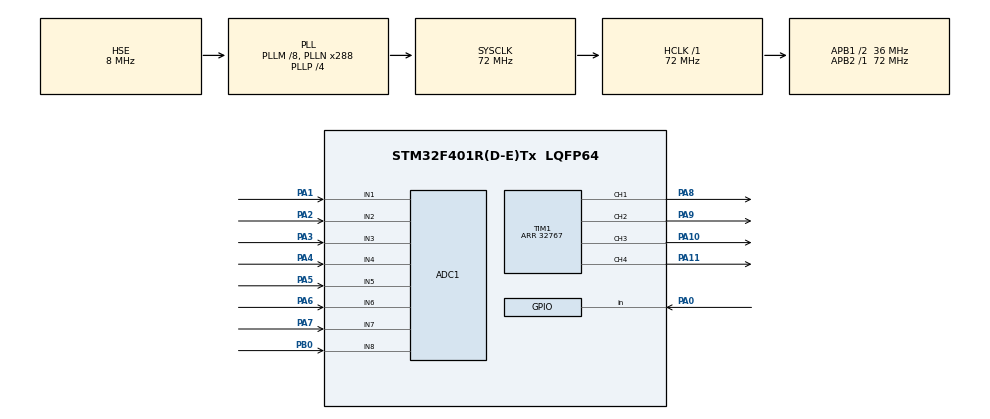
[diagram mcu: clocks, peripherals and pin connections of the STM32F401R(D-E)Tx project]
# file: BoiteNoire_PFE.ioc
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ADC1.Channel-10\#ChannelRegularConversion=ADC_CHANNEL_7
ADC1.Channel-11\#ChannelRegularConversion=ADC_CHANNEL_8
ADC1.Channel-4\#ChannelRegularConversion=ADC_CHANNEL_1
ADC1.Channel-5\#ChannelRegularConversion=ADC_CHANNEL_2
ADC1.Channel-6\#ChannelRegularConversion=ADC_CHANNEL_3
ADC1.Channel-7\#ChannelRegularConversion=ADC_CHANNEL_4
ADC1.Channel-8\#ChannelRegularConversion=ADC_CHANNEL_5
ADC1.Channel-9\#ChannelRegularConversion=ADC_CHANNEL_6
ADC1.ContinuousConvMode=ENABLE
ADC1.DMAContinuousRequests=ENABLE
ADC1.NbrOfConversion=8
ADC1.NbrOfConversionFlag=1
ADC1.Rank-10\#ChannelRegularConversion=7
ADC1.Rank-11\#ChannelRegularConversion=8
ADC1.Rank-4\#ChannelRegularConversion=1
ADC1.Rank-5\#ChannelRegularConversion=2
ADC1.Rank-6\#ChannelRegularConversion=3
ADC1.Rank-7\#ChannelRegularConversion=4
ADC1.Rank-8\#ChannelRegularConversion=5
ADC1.Rank-9\#ChannelRegularConversion=6
ADC1.SamplingTime-10\#ChannelRegularConversion=ADC_SAMPLETIME_3CYCLES
ADC1.SamplingTime-11\#ChannelRegularConversion=ADC_SAMPLETIME_480CYCLES
ADC1.SamplingTime-4\#ChannelRegularConversion=ADC_SAMPLETIME_480CYCLES
ADC1.SamplingTime-5\#ChannelRegularConversion=ADC_SAMPLETIME_480CYCLES
ADC1.SamplingTime-6\#ChannelRegularConversion=ADC_SAMPLETIME_480CYCLES
ADC1.SamplingTime-7\#ChannelRegularConversion=ADC_SAMPLETIME_480CYCLES
ADC1.SamplingTime-8\#ChannelRegularConversion=ADC_SAMPLETIME_480CYCLES
ADC1.SamplingTime-9\#ChannelRegularConversion=ADC_SAMPLETIME_480CYCLES
ADC1.ScanConvMode=ENABLE
ADC1.master=1
Dma.ADC1.0.Direction=DMA_PERIPH_TO_MEMORY
Dma.ADC1.0.FIFOMode=DMA_FIFOMODE_DISABLE
Dma.ADC1.0.Instance=DMA2_Stream0
Dma.ADC1.0.MemDataAlignment=DMA_MDATAALIGN_WORD
Dma.ADC1.0.MemInc=DMA_MINC_ENABLE
Dma.ADC1.0.Mode=DMA_CIRCULAR
Dma.ADC1.0.PeriphDataAlignment=DMA_PDATAALIGN_WORD
Dma.ADC1.0.PeriphInc=DMA_PINC_DISABLE
Dma.ADC1.0.Priority=DMA_PRIORITY_LOW
Dma.Request0=ADC1
Mcu.Family=STM32F4
Mcu.Name=STM32F401R(D-E)Tx
Mcu.Package=LQFP64
NVIC.DMA2_Stream0_IRQn=true\:0\:0\:false\:false\:true\:false\:true\:true
NVIC.PriorityGroup=NVIC_PRIORITYGROUP_4
PA0-WKUP.GPIO_PuPd=GPIO_PULLUP
PA0-WKUP.Signal=GPIO_Input
PA1.Signal=ADCx_IN1
PA10.Signal=S_TIM1_CH3
PA11.Signal=S_TIM1_CH4
PA2.Signal=ADCx_IN2
PA3.Signal=ADCx_IN3
PA4.Signal=ADCx_IN4
PA5.Signal=ADCx_IN5
PA6.Signal=ADCx_IN6
PA7.Signal=ADCx_IN7
PA8.Signal=S_TIM1_CH1
PA9.Signal=S_TIM1_CH2
PB0.Signal=ADCx_IN8
PC14-OSC32_IN.Mode=LSE-External-Oscillator
PC14-OSC32_IN.Signal=RCC_OSC32_IN
PC15-OSC32_OUT.Mode=LSE-External-Oscillator
PC15-OSC32_OUT.Signal=RCC_OSC32_OUT
PH0\ -\ OSC_IN.Mode=HSE-External-Oscillator
PH0\ -\ OSC_IN.Signal=RCC_OSC_IN
PH1\ -\ OSC_OUT.Mode=HSE-External-Oscillator
PH1\ -\ OSC_OUT.Signal=RCC_OSC_OUT
ProjectManager.HeapSize=0x200
ProjectManager.StackSize=0x400
ProjectManager.TargetToolchain=STM32CubeIDE
RCC.48MHZClocksFreq_Value=41142857.14285714
RCC.AHBFreq_Value=72000000
RCC.APB1CLKDivider=RCC_HCLK_DIV2
RCC.APB1Freq_Value=36000000
RCC.APB1TimFreq_Value=72000000
RCC.APB2Freq_Value=72000000
RCC.APB2TimFreq_Value=72000000
RCC.CortexFreq_Value=72000000
RCC.HCLKFreq_Value=72000000
RCC.HSE_VALUE=8000000
RCC.HSI_VALUE=16000000
RCC.PLLM=8
RCC.PLLN=288
RCC.PLLP=RCC_PLLP_DIV4
RCC.PLLQ=7
RCC.PLLSourceVirtual=RCC_PLLSOURCE_HSE
RCC.SYSCLKFreq_VALUE=72000000
RCC.SYSCLKSource=RCC_SYSCLKSOURCE_PLLCLK
RCC.VCOOutputFreq_Value=288000000
SH.ADCx_IN1.0=ADC1_IN1,IN1
SH.ADCx_IN2.0=ADC1_IN2,IN2
SH.ADCx_IN3.0=ADC1_IN3,IN3
SH.ADCx_IN4.0=ADC1_IN4,IN4
SH.ADCx_IN5.0=ADC1_IN5,IN5
SH.ADCx_IN6.0=ADC1_IN6,IN6
SH.ADCx_IN7.0=ADC1_IN7,IN7
SH.ADCx_IN8.0=ADC1_IN8,IN8
SH.S_TIM1_CH1.0=TIM1_CH1,PWM Generation1 CH1
SH.S_TIM1_CH2.0=TIM1_CH2,PWM Generation2 CH2
SH.S_TIM1_CH3.0=TIM1_CH3,PWM Generation3 CH3
SH.S_TIM1_CH4.0=TIM1_CH4,PWM Generation4 CH4
TIM1.AutoReloadPreload=TIM_AUTORELOAD_PRELOAD_ENABLE
TIM1.Channel-PWM\ Generation1\ CH1=TIM_CHANNEL_1
TIM1.Channel-PWM\ Generation2\ CH2=TIM_CHANNEL_2
TIM1.Channel-PWM\ Generation3\ CH3=TIM_CHANNEL_3
TIM1.Channel-PWM\ Generation4\ CH4=TIM_CHANNEL_4
TIM1.Period=32767
board=NUCLEO-F401RE

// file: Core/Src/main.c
/* USER CODE BEGIN Header */
/**
  ******************************************************************************
  * @file           : main.c
  * @brief          : Main program body
  ******************************************************************************
  * @attention
  *
  * Copyright (c) 2026 STMicroelectronics.
  * All rights reserved.
  *
  * This software is licensed under terms that can be found in the LICENSE file
  * in the root directory of this software component.
  * If no LICENSE file comes with this software, it is provided AS-IS.
  *
  ******************************************************************************
  */
/* USER CODE END Header */
#include "main.h"

/* USER CODE BEGIN Includes */

#include <stdbool.h>

/* USER CODE END Includes */

/* USER CODE BEGIN PD */

uint32_t AD_RES_BUFFER[8];
volatile bool switchState = false;

/* USER CODE END PD */

ADC_HandleTypeDef hadc1;
DMA_HandleTypeDef hdma_adc1;

TIM_HandleTypeDef htim1;

void SystemClock_Config(void);
static void MX_GPIO_Init(void);
static void MX_DMA_Init(void);
static void MX_ADC1_Init(void);
static void MX_TIM1_Init(void);

int main(void)
{

  /* MCU Configuration--------------------------------------------------------*/

  /* Reset of all peripherals, Initializes the Flash interface and the Systick. */
  HAL_Init();

  /* Configure the system clock */
  SystemClock_Config();

  /* Initialize all configured peripherals */
  MX_GPIO_Init();
  MX_DMA_Init();
  MX_ADC1_Init();
  MX_TIM1_Init();
  /* USER CODE BEGIN 2 */

  HAL_TIM_PWM_Start(&htim1, TIM_CHANNEL_1);
  HAL_TIM_PWM_Start(&htim1, TIM_CHANNEL_2);
  HAL_TIM_PWM_Start(&htim1, TIM_CHANNEL_3);
  HAL_TIM_PWM_Start(&htim1, TIM_CHANNEL_4);
  HAL_ADC_Start_DMA(&hadc1, AD_RES_BUFFER, 8);

  /* USER CODE END 2 */

  /* Infinite loop */
  while (1)
  {

  }
}

void SystemClock_Config(void)
{
  RCC_OscInitTypeDef RCC_OscInitStruct = {0};
  RCC_ClkInitTypeDef RCC_ClkInitStruct = {0};

  /** Configure the main internal regulator output voltage
  */
  __HAL_RCC_PWR_CLK_ENABLE();
  __HAL_PWR_VOLTAGESCALING_CONFIG(PWR_REGULATOR_VOLTAGE_SCALE2);

  /** Initializes the RCC Oscillators according to the specified parameters
  * in the RCC_OscInitTypeDef structure.
  */
  RCC_OscInitStruct.OscillatorType = RCC_OSCILLATORTYPE_HSE;
  RCC_OscInitStruct.HSEState = RCC_HSE_ON;
  RCC_OscInitStruct.PLL.PLLState = RCC_PLL_ON;
  RCC_OscInitStruct.PLL.PLLSource = RCC_PLLSOURCE_HSE;
  RCC_OscInitStruct.PLL.PLLM = 8;
  RCC_OscInitStruct.PLL.PLLN = 288;
  RCC_OscInitStruct.PLL.PLLP = RCC_PLLP_DIV4;
  RCC_OscInitStruct.PLL.PLLQ = 7;
  if (HAL_RCC_OscConfig(&RCC_OscInitStruct) != HAL_OK)
  {
    Error_Handler();
  }

  /** Initializes the CPU, AHB and APB buses clocks
  */
  RCC_ClkInitStruct.ClockType = RCC_CLOCKTYPE_HCLK|RCC_CLOCKTYPE_SYSCLK
                              |RCC_CLOCKTYPE_PCLK1|RCC_CLOCKTYPE_PCLK2;
  RCC_ClkInitStruct.SYSCLKSource = RCC_SYSCLKSOURCE_PLLCLK;
  RCC_ClkInitStruct.AHBCLKDivider = RCC_SYSCLK_DIV1;
  RCC_ClkInitStruct.APB1CLKDivider = RCC_HCLK_DIV2;
  RCC_ClkInitStruct.APB2CLKDivider = RCC_HCLK_DIV1;

  if (HAL_RCC_ClockConfig(&RCC_ClkInitStruct, FLASH_LATENCY_2) != HAL_OK)
  {
    Error_Handler();
  }
}

static void MX_ADC1_Init(void)
{

  ADC_ChannelConfTypeDef sConfig = {0};

  /** Configure the global features of the ADC (Clock, Resolution, Data Alignment and number of conversion)
  */
  hadc1.Instance = ADC1;
  hadc1.Init.ClockPrescaler = ADC_CLOCK_SYNC_PCLK_DIV2;
  hadc1.Init.Resolution = ADC_RESOLUTION_12B;
  hadc1.Init.ScanConvMode = ENABLE;
  hadc1.Init.ContinuousConvMode = ENABLE;
  hadc1.Init.DiscontinuousConvMode = DISABLE;
  hadc1.Init.ExternalTrigConvEdge = ADC_EXTERNALTRIGCONVEDGE_NONE;
  hadc1.Init.ExternalTrigConv = ADC_SOFTWARE_START;
  hadc1.Init.DataAlign = ADC_DATAALIGN_RIGHT;
  hadc1.Init.NbrOfConversion = 8;
  hadc1.Init.DMAContinuousRequests = ENABLE;
  hadc1.Init.EOCSelection = ADC_EOC_SEQ_CONV;
  if (HAL_ADC_Init(&hadc1) != HAL_OK)
  {
    Error_Handler();
  }

  /** Configure for the selected ADC regular channel its corresponding rank in the sequencer and its sample time.
  */
  sConfig.Channel = ADC_CHANNEL_1;
  sConfig.Rank = 1;
  sConfig.SamplingTime = ADC_SAMPLETIME_480CYCLES;
  if (HAL_ADC_ConfigChannel(&hadc1, &sConfig) != HAL_OK)
  {
    Error_Handler();
  }

  /** Configure for the selected ADC regular channel its corresponding rank in the sequencer and its sample time.
  */
  sConfig.Channel = ADC_CHANNEL_2;
  sConfig.Rank = 2;
  sConfig.SamplingTime = ADC_SAMPLETIME_480CYCLES;
  if (HAL_ADC_ConfigChannel(&hadc1, &sConfig) != HAL_OK)
  {
    Error_Handler();
  }

  /** Configure for the selected ADC regular channel its corresponding rank in the sequencer and its sample time.
  */
  sConfig.Channel = ADC_CHANNEL_3;
  sConfig.Rank = 3;
  sConfig.SamplingTime = ADC_SAMPLETIME_480CYCLES;
  if (HAL_ADC_ConfigChannel(&hadc1, &sConfig) != HAL_OK)
  {
    Error_Handler();
  }

  /** Configure for the selected ADC regular channel its corresponding rank in the sequencer and its sample time.
  */
  sConfig.Channel = ADC_CHANNEL_4;
  sConfig.Rank = 4;
  sConfig.SamplingTime = ADC_SAMPLETIME_480CYCLES;
  if (HAL_ADC_ConfigChannel(&hadc1, &sConfig) != HAL_OK)
  {
    Error_Handler();
  }

  /** Configure for the selected ADC regular channel its corresponding rank in the sequencer and its sample time.
  */
  sConfig.Channel = ADC_CHANNEL_5;
  sConfig.Rank = 5;
  sConfig.SamplingTime = ADC_SAMPLETIME_480CYCLES;
  if (HAL_ADC_ConfigChannel(&hadc1, &sConfig) != HAL_OK)
  {
    Error_Handler();
  }

  /** Configure for the selected ADC regular channel its corresponding rank in the sequencer and its sample time.
  */
  sConfig.Channel = ADC_CHANNEL_6;
  sConfig.Rank = 6;
  sConfig.SamplingTime = ADC_SAMPLETIME_480CYCLES;
  if (HAL_ADC_ConfigChannel(&hadc1, &sConfig) != HAL_OK)
  {
    Error_Handler();
  }

  /** Configure for the selected ADC regular channel its corresponding rank in the sequencer and its sample time.
  */
  sConfig.Channel = ADC_CHANNEL_7;
  sConfig.Rank = 7;
  sConfig.SamplingTime = ADC_SAMPLETIME_480CYCLES;
  if (HAL_ADC_ConfigChannel(&hadc1, &sConfig) != HAL_OK)
  {
    Error_Handler();
  }

  /** Configure for the selected ADC regular channel its corresponding rank in the sequencer and its sample time.
  */
  sConfig.Channel = ADC_CHANNEL_8;
  sConfig.Rank = 8;
  sConfig.SamplingTime = ADC_SAMPLETIME_480CYCLES;
  if (HAL_ADC_ConfigChannel(&hadc1, &sConfig) != HAL_OK)
  {
    Error_Handler();
  }

}

static void MX_TIM1_Init(void)
{

  TIM_MasterConfigTypeDef sMasterConfig = {0};
  TIM_OC_InitTypeDef sConfigOC = {0};
  TIM_BreakDeadTimeConfigTypeDef sBreakDeadTimeConfig = {0};

  htim1.Instance = TIM1;
  htim1.Init.Prescaler = 0;
  htim1.Init.CounterMode = TIM_COUNTERMODE_UP;
  htim1.Init.Period = 32767;
  htim1.Init.ClockDivision = TIM_CLOCKDIVISION_DIV1;
  htim1.Init.RepetitionCounter = 0;
  htim1.Init.AutoReloadPreload = TIM_AUTORELOAD_PRELOAD_ENABLE;
  if (HAL_TIM_PWM_Init(&htim1) != HAL_OK)
  {
    Error_Handler();
  }
  sMasterConfig.MasterOutputTrigger = TIM_TRGO_RESET;
  sMasterConfig.MasterSlaveMode = TIM_MASTERSLAVEMODE_DISABLE;
  if (HAL_TIMEx_MasterConfigSynchronization(&htim1, &sMasterConfig) != HAL_OK)
  {
    Error_Handler();
  }
  sConfigOC.OCMode = TIM_OCMODE_PWM1;
  sConfigOC.Pulse = 0;
  sConfigOC.OCPolarity = TIM_OCPOLARITY_HIGH;
  sConfigOC.OCNPolarity = TIM_OCNPOLARITY_HIGH;
  sConfigOC.OCFastMode = TIM_OCFAST_DISABLE;
  sConfigOC.OCIdleState = TIM_OCIDLESTATE_RESET;
  sConfigOC.OCNIdleState = TIM_OCNIDLESTATE_RESET;
  if (HAL_TIM_PWM_ConfigChannel(&htim1, &sConfigOC, TIM_CHANNEL_1) != HAL_OK)
  {
    Error_Handler();
  }
  if (HAL_TIM_PWM_ConfigChannel(&htim1, &sConfigOC, TIM_CHANNEL_2) != HAL_OK)
  {
    Error_Handler();
  }
  if (HAL_TIM_PWM_ConfigChannel(&htim1, &sConfigOC, TIM_CHANNEL_3) != HAL_OK)
  {
    Error_Handler();
  }
  if (HAL_TIM_PWM_ConfigChannel(&htim1, &sConfigOC, TIM_CHANNEL_4) != HAL_OK)
  {
    Error_Handler();
  }
  sBreakDeadTimeConfig.OffStateRunMode = TIM_OSSR_DISABLE;
  sBreakDeadTimeConfig.OffStateIDLEMode = TIM_OSSI_DISABLE;
  sBreakDeadTimeConfig.LockLevel = TIM_LOCKLEVEL_OFF;
  sBreakDeadTimeConfig.DeadTime = 0;
  sBreakDeadTimeConfig.BreakState = TIM_BREAK_DISABLE;
  sBreakDeadTimeConfig.BreakPolarity = TIM_BREAKPOLARITY_HIGH;
  sBreakDeadTimeConfig.AutomaticOutput = TIM_AUTOMATICOUTPUT_DISABLE;
  if (HAL_TIMEx_ConfigBreakDeadTime(&htim1, &sBreakDeadTimeConfig) != HAL_OK)
  {
    Error_Handler();
  }
  HAL_TIM_MspPostInit(&htim1);

}

static void MX_DMA_Init(void)
{

  /* DMA controller clock enable */
  __HAL_RCC_DMA2_CLK_ENABLE();

  /* DMA interrupt init */
  /* DMA2_Stream0_IRQn interrupt configuration */
  HAL_NVIC_SetPriority(DMA2_Stream0_IRQn, 0, 0);
  HAL_NVIC_EnableIRQ(DMA2_Stream0_IRQn);

}

static void MX_GPIO_Init(void)
{
  GPIO_InitTypeDef GPIO_InitStruct = {0};

  /* GPIO Ports Clock Enable */
  __HAL_RCC_GPIOC_CLK_ENABLE();
  __HAL_RCC_GPIOH_CLK_ENABLE();
  __HAL_RCC_GPIOA_CLK_ENABLE();
  __HAL_RCC_GPIOB_CLK_ENABLE();

  /*Configure GPIO pin : PA0 */
  GPIO_InitStruct.Pin = GPIO_PIN_0;
  GPIO_InitStruct.Mode = GPIO_MODE_INPUT;
  GPIO_InitStruct.Pull = GPIO_PULLUP;
  HAL_GPIO_Init(GPIOA, &GPIO_InitStruct);

  /* USER CODE BEGIN MX_GPIO_Init_2 */

  //GPIO_InitTypeDef GPIO_InitStruct = {0};

  /* Configure PA0 as input with interrupt */
  GPIO_InitStruct.Pin = GPIO_PIN_0;
  GPIO_InitStruct.Mode = GPIO_MODE_IT_FALLING;   // interruption sur appui (pull-up)
  GPIO_InitStruct.Pull = GPIO_PULLUP;
  HAL_GPIO_Init(GPIOA, &GPIO_InitStruct);

  /* Enable EXTI line 0 interrupt */
  HAL_NVIC_SetPriority(EXTI0_IRQn, 1, 0);
  HAL_NVIC_EnableIRQ(EXTI0_IRQn);

  /* USER CODE END MX_GPIO_Init_2 */
}

/* USER CODE BEGIN 4 */

void HAL_ADC_ConvCpltCallback(ADC_HandleTypeDef* hadc)
{
	//uint16_t i = 0;

	//if(switchState) i = 5;

	TIM1->CCR1 = (AD_RES_BUFFER[0] << 4); // ADC CH1/5 -> PWM CH1
	TIM1->CCR2 = (AD_RES_BUFFER[1] << 4); // ADC CH2/6 -> PWM CH2
	TIM1->CCR3 = (AD_RES_BUFFER[2] << 4); // ADC CH3/7 -> PWM CH3
	TIM1->CCR4 = (AD_RES_BUFFER[3] << 4); // ADC CH4/8 -> PWM CH4

}

void HAL_GPIO_EXTI_Callback(uint16_t GPIO_Pin)
{
  if (GPIO_Pin == GPIO_PIN_0)
  {
    if (HAL_GPIO_ReadPin(GPIOA, GPIO_PIN_0) == GPIO_PIN_RESET)
      switchState = true;   // ON
    else
      switchState = false;  // OFF
  }
}

/* USER CODE END 4 */

void Error_Handler(void)
{
  __disable_irq();
  while (1)
  {
  }
}
